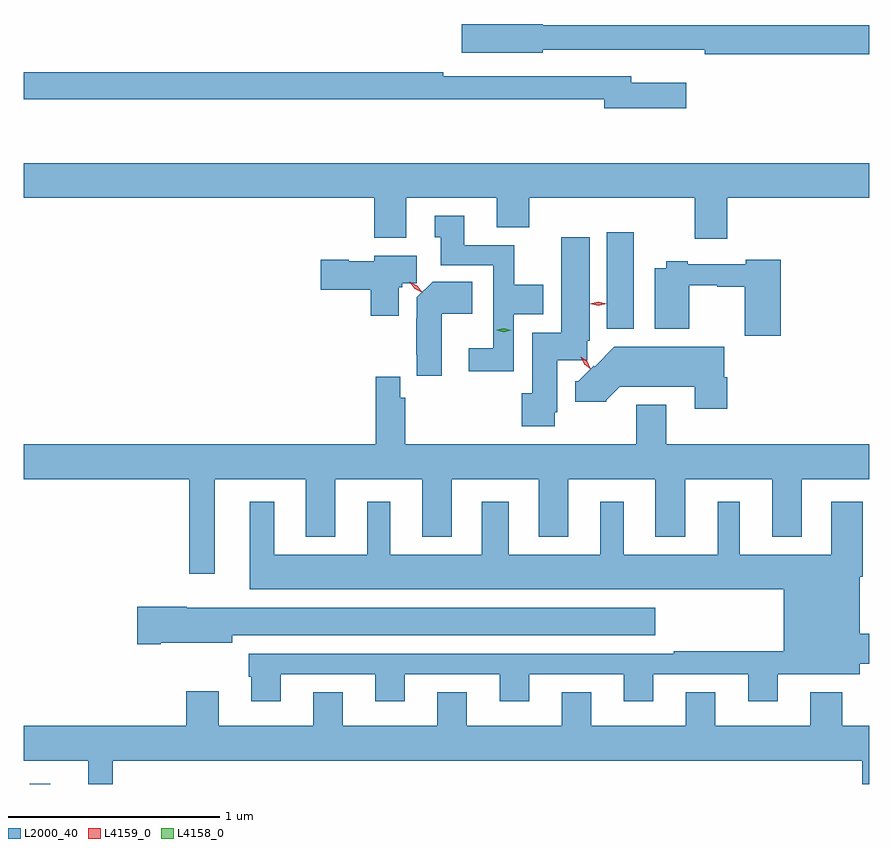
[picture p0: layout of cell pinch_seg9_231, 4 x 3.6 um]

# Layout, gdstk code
import gdstk
lib = gdstk.Library(unit=1e-6, precision=1e-09)
def R(c, l, rs):  # rectangles x0, y0, x1, y1
    for r in rs: c.add(gdstk.rectangle(r[:2], r[2:], *l))
def P(c, l, *ps):  # polygons
    for p in ps: c.add(gdstk.Polygon(p, *l))
L2000_40 = (2000, 40)
L4158_0 = (4158, 0)
L4159_0 = (4159, 0)

pinch_seg9_231 = lib.new_cell('pinch_seg9_231')
R(pinch_seg9_231, L2000_40, [(406.604,1242.929,406.701,1242.931), (409.335,1245.084,409.462,1245.541)])
P(pinch_seg9_231, L2000_40, [(410.576,1246.52),(409.032,1246.52),(409.032,1246.526),(408.648,1246.526),(408.648,1246.391),(409.032,1246.391),(409.032,1246.404),(409.546,1246.404),(409.546,1246.403),(409.798,1246.403),(409.798,1246.384),(410.576,1246.384)],
  [(409.711,1246.249),(409.45,1246.249),(409.45,1246.278),(408.56,1246.278),(408.56,1246.298),(406.576,1246.298),(406.576,1246.17),(409.322,1246.17),(409.322,1246.127),(409.711,1246.127)],
  [(409.904,1245.704),(410.576,1245.704),(410.576,1245.868),(406.576,1245.868),(406.576,1245.704),(408.233,1245.704),(408.233,1245.515),(408.385,1245.515),(408.385,1245.704),(408.815,1245.704),(408.815,1245.563),(408.968,1245.563),(408.968,1245.704),(409.751,1245.704),(409.751,1245.51),(409.904,1245.51)],
  [(408.894,1245.152),(409.033,1245.152),(409.033,1245.292),(408.897,1245.292),(408.897,1245.478),(408.661,1245.478),(408.661,1245.619),(408.521,1245.619),(408.521,1245.516),(408.549,1245.516),(408.549,1245.384),(408.798,1245.384),(408.798,1244.992),(408.681,1244.992),(408.681,1244.883),(408.894,1244.883)],
  [(409.089,1244.688),(409.101,1244.688),(409.101,1244.934),(409.243,1244.934),(409.243,1245.028),(409.254,1245.028),(409.254,1245.517),(409.118,1245.517),(409.118,1245.064),(408.983,1245.064),(408.983,1244.778),(408.932,1244.778),(408.932,1244.622),(409.089,1244.622)],
  [(408.35,1245.281),(408.366,1245.281),(408.366,1245.3),(408.435,1245.3),(408.435,1245.43),(408.234,1245.43),(408.234,1245.403),(408.114,1245.403),(408.114,1245.411),(407.982,1245.411),(407.982,1245.269),(408.218,1245.269),(408.218,1245.144),(408.35,1245.144)],
  [(410.159,1245.411),(409.992,1245.411),(409.992,1245.39),(409.717,1245.39),(409.717,1245.403),(409.617,1245.403),(409.617,1245.37),(409.562,1245.37),(409.562,1245.084),(409.726,1245.084),(409.726,1245.289),(409.857,1245.289),(409.857,1245.282),(409.988,1245.282),(409.988,1245.051),(410.159,1245.051)],
  [(408.554,1245.154),(408.698,1245.154),(408.698,1245.307),(408.51,1245.307),(408.435,1245.232),(408.435,1245.133),(408.432,1245.133),(408.432,1244.961),(408.436,1244.961),(408.436,1244.861),(408.554,1244.861)],
  [(409.904,1244.853),(409.891,1244.853),(409.891,1244.999),(409.371,1244.999),(409.277,1244.904),(409.273,1244.909),(409.199,1244.835),(409.186,1244.835),(409.186,1244.738),(409.332,1244.738),(409.332,1244.745),(409.397,1244.81),(409.751,1244.81),(409.751,1244.706),(409.904,1244.706)],
  [(407.479,1244.372),(407.909,1244.372),(407.909,1244.099),(408.049,1244.099),(408.049,1244.372),(408.461,1244.372),(408.461,1244.099),(408.601,1244.099),(408.601,1244.372),(409.013,1244.372),(409.013,1244.099),(409.153,1244.099),(409.153,1244.372),(409.565,1244.372),(409.565,1244.099),(409.705,1244.099),(409.705,1244.372),(410.117,1244.372),(410.117,1244.099),(410.257,1244.099),(410.257,1244.372),(410.576,1244.372),(410.576,1244.536),(409.615,1244.536),(409.615,1244.725),(409.475,1244.725),(409.475,1244.536),(408.38,1244.536),(408.38,1244.756),(408.357,1244.756),(408.357,1244.856),(408.242,1244.856),(408.242,1244.536),(406.576,1244.536),(406.576,1244.372),(407.358,1244.372),(407.358,1243.923),(407.479,1243.923)],
  [(407.791,1243.449),(408.239,1243.449),(408.239,1243.32),(408.379,1243.32),(408.379,1243.449),(408.827,1243.449),(408.827,1243.32),(408.967,1243.32),(408.967,1243.449),(409.415,1243.449),(409.415,1243.32),(409.555,1243.32),(409.555,1243.449),(410.003,1243.449),(410.003,1243.32),(410.143,1243.32),(410.143,1243.448),(410.533,1243.448),(410.533,1243.498),(410.576,1243.498),(410.576,1243.64),(410.533,1243.64),(410.533,1243.91),(410.546,1243.91),(410.546,1244.266),(410.396,1244.266),(410.396,1244.014),(409.963,1244.014),(409.963,1244.266),(409.859,1244.266),(409.859,1244.014),(409.414,1244.014),(409.414,1244.266),(409.304,1244.266),(409.304,1244.014),(408.871,1244.014),(408.871,1244.266),(408.743,1244.266),(408.743,1244.014),(408.31,1244.014),(408.31,1244.266),(408.2,1244.266),(408.2,1244.014),(407.761,1244.014),(407.761,1244.266),(407.645,1244.266),(407.645,1243.85),(410.171,1243.85),(410.171,1243.558),(409.651,1243.558),(409.651,1243.545),(407.639,1243.545),(407.639,1243.437),(407.651,1243.437),(407.651,1243.32),(407.791,1243.32)],
  [(407.224,1243.598),(407.563,1243.598),(407.563,1243.634),(409.564,1243.634),(409.564,1243.762),(407.346,1243.762),(407.346,1243.769),(407.112,1243.769),(407.112,1243.591),(407.224,1243.591)],
  [(410.543,1242.929),(410.576,1242.929),(410.576,1243.204),(410.45,1243.204),(410.45,1243.363),(410.297,1243.363),(410.297,1243.204),(409.849,1243.204),(409.849,1243.364),(409.709,1243.364),(409.709,1243.204),(409.261,1243.204),(409.261,1243.364),(409.121,1243.364),(409.121,1243.204),(408.673,1243.204),(408.673,1243.364),(408.533,1243.364),(408.533,1243.204),(408.085,1243.204),(408.085,1243.364),(407.945,1243.364),(407.945,1243.204),(407.497,1243.204),(407.497,1243.369),(407.345,1243.369),(407.345,1243.204),(406.576,1243.204),(406.576,1243.04),(406.88,1243.04),(406.88,1242.929),(406.997,1242.929),(406.997,1243.04),(410.543,1243.04)])
P(pinch_seg9_231, L4158_0, [(408.847,1245.067),(408.813,1245.077),(408.813,1245.077),(408.813,1245.078),(408.847,1245.087),(408.882,1245.077),(408.882,1245.077),(408.882,1245.076)])
P(pinch_seg9_231, L4159_0, [(409.295,1245.192),(409.255,1245.202),(409.255,1245.202),(409.255,1245.202),(409.295,1245.212),(409.335,1245.202),(409.335,1245.202),(409.335,1245.202)],
  [(409.258,1244.893),(409.227,1244.916),(409.211,1244.952),(409.211,1244.952),(409.211,1244.952),(409.242,1244.929),(409.259,1244.893),(409.259,1244.893)],
  [(408.463,1245.255),(408.425,1245.273),(408.4,1245.306),(408.4,1245.306),(408.401,1245.306),(408.438,1245.288),(408.463,1245.255),(408.463,1245.255)])

lib.write_gds('pinch_seg9_231.gds')
